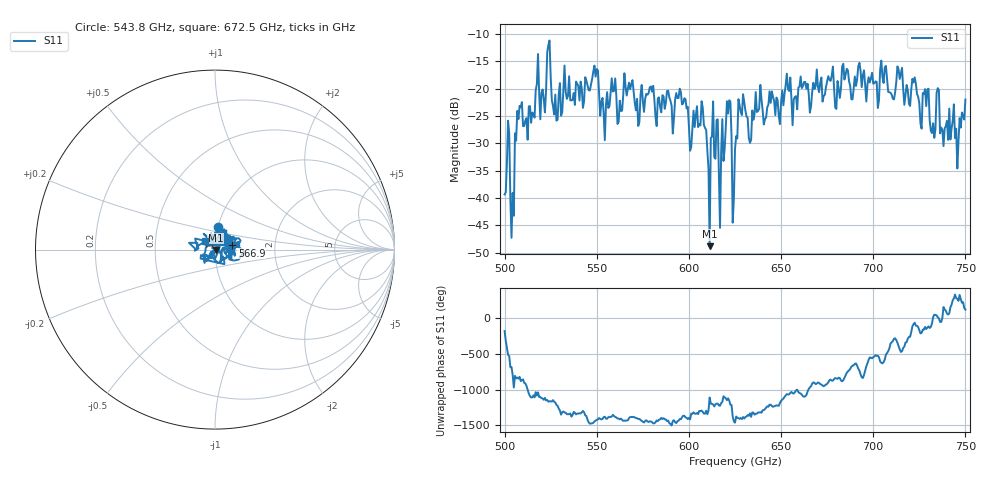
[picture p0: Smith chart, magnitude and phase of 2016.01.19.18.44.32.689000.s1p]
!Created with skrf (http://scikit-rf.org).
# GHz S RI R 50.0
!freq ReS11 ImS11
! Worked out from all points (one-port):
!   401 points, 500 GHz to 750 GHz, reference 50 ohm
!   lowest |S11| = -48.8 dB at 611.2 GHz (marker M1), VSWR 1.01, Z = 50.3 - j0.177 ohm
!   |S11| at or under -10 dB: start of sweep to end of sweep
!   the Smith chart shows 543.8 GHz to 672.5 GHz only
!   S11 on the Smith chart (normalised r, x): 543.8 GHz: 1.00, +0.26; 566.9 GHz: 1.21, +0.06; 672.5 GHz: 0.89, +0.09
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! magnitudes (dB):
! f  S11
! 500 GHz  -39.3
! 501.9 GHz  -25.9
! 504.4 GHz  -39.1
! 508.1 GHz  -23.1
! 520.6 GHz  -20.2
! 523.8 GHz  -12.0
! 527.5 GHz  -21.1
! 531.2 GHz  -24.4
! 543.8 GHz  -17.9
! 549.4 GHz  -17.8
! 553.1 GHz  -21.7
! 558.8 GHz  -20.5
! 562.5 GHz  -22.2
! 566.9 GHz  -20.0
! 593.8 GHz  -21.7
! 608.1 GHz  -26.6
! 611.2 GHz  -48.8
! 614.4 GHz  -32.8
! 617.5 GHz  -31.5
! 621.2 GHz  -24.5
! 625 GHz  -31.1
! 628.1 GHz  -24.3
! 656.2 GHz  -26.7
! 672.5 GHz  -22.4
! 687.5 GHz  -19.5
! 718.8 GHz  -20.3
! 745.6 GHz  -34.6
! 750 GHz  -22.0
